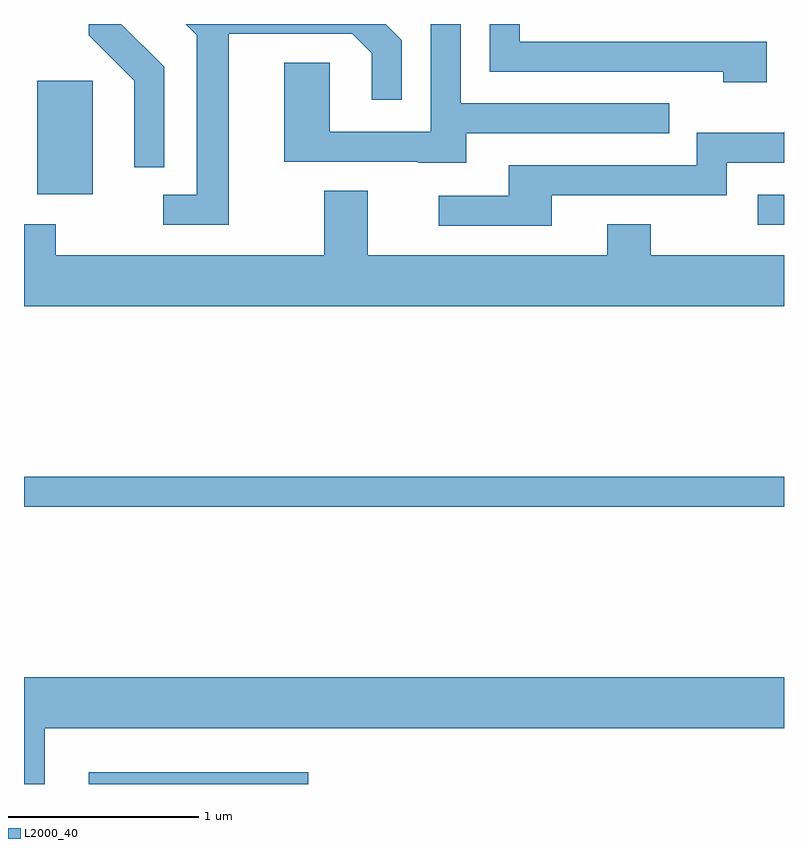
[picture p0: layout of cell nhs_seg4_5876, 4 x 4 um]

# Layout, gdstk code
import gdstk
lib = gdstk.Library(unit=1e-6, precision=1e-09)
def R(c, l, rs):  # rectangles x0, y0, x1, y1
    for r in rs: c.add(gdstk.rectangle(r[:2], r[2:], *l))
def P(c, l, *ps):  # polygons
    for p in ps: c.add(gdstk.Polygon(p, *l))
L2000_40 = (2000, 40)

nhs_seg4_5876 = lib.new_cell('nhs_seg4_5876')
R(nhs_seg4_5876, L2000_40, [(357.951,1309.982,359.108,1310.044), (357.611,1311.441,361.611,1311.599), (361.473,1312.926,361.611,1313.084), (357.681,1313.086,357.974,1313.684)])
P(nhs_seg4_5876, L2000_40, [(358.349,1313.757),(358.124,1313.982),(357.951,1313.982),(357.951,1313.924),(358.191,1313.684),(358.191,1313.228),(358.349,1313.228)],
  [(361.519,1313.889),(360.219,1313.889),(360.219,1313.982),(360.061,1313.982),(360.061,1313.731),(361.291,1313.731),(361.291,1313.676),(361.519,1313.676)],
  [(358.689,1313.931),(359.339,1313.931),(359.441,1313.829),(359.441,1313.583),(359.599,1313.583),(359.599,1313.897),(359.514,1313.982),(358.463,1313.982),(358.521,1313.924),(358.521,1313.084),(358.343,1313.084),(358.343,1312.926),(358.689,1312.926)],
  [(359.939,1313.406),(361.008,1313.406),(361.008,1313.564),(359.909,1313.564),(359.909,1313.982),(359.751,1313.982),(359.751,1313.414),(359.219,1313.414),(359.219,1313.779),(358.981,1313.779),(358.981,1313.256),(359.685,1313.256),(359.685,1313.251),(359.939,1313.251)],
  [(360.389,1313.081),(361.309,1313.081),(361.309,1313.251),(361.611,1313.251),(361.611,1313.416),(361.604,1313.409),(361.151,1313.409),(361.151,1313.239),(360.161,1313.239),(360.161,1313.079),(359.793,1313.079),(359.793,1312.921),(360.389,1312.921)],
  [(361.611,1312.764),(360.909,1312.764),(360.909,1312.929),(360.681,1312.929),(360.681,1312.764),(359.419,1312.764),(359.419,1313.104),(359.191,1313.104),(359.191,1312.764),(357.779,1312.764),(357.779,1312.929),(357.611,1312.929),(357.611,1312.496),(361.611,1312.496)],
  [(357.719,1310.276),(361.611,1310.276),(361.611,1310.544),(357.611,1310.544),(357.611,1309.982),(357.719,1309.982)])

lib.write_gds('nhs_seg4_5876.gds')
